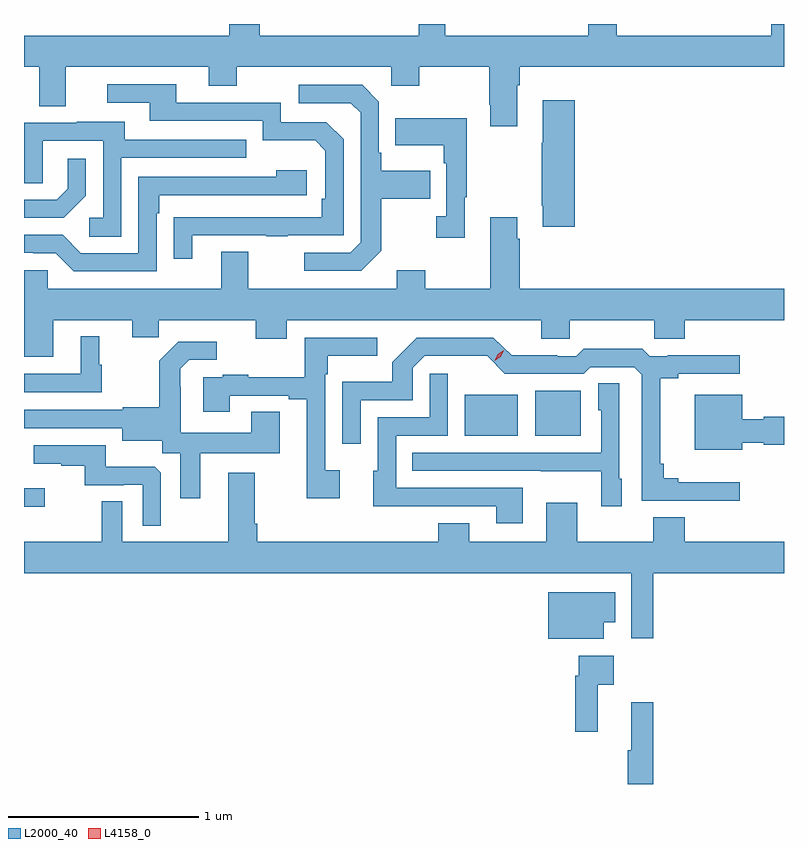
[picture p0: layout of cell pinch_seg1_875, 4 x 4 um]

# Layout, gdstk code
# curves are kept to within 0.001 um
import gdstk
lib = gdstk.Library(unit=1e-6, precision=1e-09)
def R(c, l, rs):  # rectangles x0, y0, x1, y1
    for r in rs: c.add(gdstk.rectangle(r[:2], r[2:], *l))
def P(c, l, *ps):  # polygons
    for p in ps: c.add(gdstk.Polygon(p, *l))
L2000_40 = (2000, 40)
L4158_0 = (4158, 0)

pinch_seg1_875 = lib.new_cell('pinch_seg1_875')
R(pinch_seg1_875, L2000_40, [(598.162,532.1,598.27,532.198), (600.482,532.475,600.76,532.69), (600.854,532.475,601.093,532.711)])
P(pinch_seg1_875, L2000_40, [(598.162,534.416),(598.241,534.416),(598.241,534.208),(598.381,534.208),(598.381,534.416),(599.135,534.416),(599.135,534.317),(599.283,534.317),(599.283,534.416),(600.096,534.416),(600.096,534.317),(600.243,534.317),(600.243,534.416),(600.61,534.416),(600.61,534.217),(600.617,534.217),(600.617,534.105),(600.757,534.105),(600.757,534.32),(600.77,534.32),(600.77,534.416),(602.162,534.416),(602.162,534.642),(602.094,534.642),(602.094,534.58),(601.281,534.58),(601.281,534.642),(601.133,534.642),(601.133,534.58),(600.379,534.58),(600.379,534.642),(600.239,534.642),(600.239,534.58),(599.403,534.58),(599.403,534.642),(599.243,534.642),(599.243,534.58),(598.162,534.58)],
  [(599.047,533.529),(599.437,533.529),(599.437,533.524),(599.549,533.524),(599.549,533.529),(599.844,533.529),(599.844,534.036),(599.754,534.126),(599.514,534.126),(599.514,534.228),(598.963,534.228),(598.963,534.324),(598.599,534.324),(598.599,534.228),(598.823,534.228),(598.823,534.132),(599.418,534.132),(599.418,534.029),(599.695,534.029),(599.748,533.976),(599.748,533.722),(599.728,533.722),(599.728,533.625),(598.951,533.624),(598.951,533.406),(599.047,533.406)],
  [(600.043,533.449),(600.043,533.722),(600.299,533.722),(600.299,533.869),(600.043,533.869),(600.043,533.965),(600.03,533.965),(600.03,534.234),(599.943,534.321),(599.607,534.321),(599.607,534.225),(599.883,534.225),(599.934,534.174),(599.934,533.493),(599.88,533.439),(599.637,533.439),(599.637,533.343),(599.937,533.343)],
  [(601.061,534.241),(600.893,534.241),(600.893,534.017),(600.886,534.017),(600.886,533.686),(600.893,533.686),(600.893,533.574),(601.061,533.574)],
  [(600.481,533.729),(600.493,533.729),(600.493,534.145),(600.115,534.145),(600.115,534.005),(600.372,534.005),(600.372,533.909),(600.384,533.909),(600.384,533.63),(600.333,533.63),(600.333,533.517),(600.481,533.517)],
  [(598.674,533.937),(599.333,533.937),(599.333,534.033),(598.693,534.033),(598.693,534.127),(598.439,534.127),(598.439,534.123),(598.162,534.123),(598.162,533.803),(598.26,533.803),(598.26,534.027),(598.578,534.027),(598.578,533.622),(598.506,533.622),(598.506,533.521),(598.674,533.521)],
  [(598.488,533.738),(598.488,533.932),(598.391,533.932),(598.391,533.775),(598.334,533.718),(598.162,533.718),(598.162,533.622),(598.372,533.622)],
  [(598.86,533.645),(598.873,533.645),(598.873,533.742),(599.65,533.742),(599.65,533.872),(599.489,533.872),(599.489,533.838),(598.764,533.838),(598.764,533.436),(598.461,533.436),(598.365,533.532),(598.162,533.532),(598.162,533.439),(598.211,533.439),(598.211,533.436),(598.329,533.436),(598.425,533.34),(598.86,533.34)],
  [(598.315,533.084),(598.733,533.084),(598.733,532.994),(598.871,532.994),(598.871,533.084),(599.381,533.084),(599.381,532.985),(599.545,532.985),(599.545,533.084),(600.884,533.084),(600.884,532.986),(601.035,532.986),(601.035,533.084),(601.48,533.084),(601.48,532.986),(601.64,532.986),(601.64,533.084),(602.162,533.084),(602.162,533.248),(600.77,533.248),(600.77,533.513),(600.757,533.513),(600.757,533.626),(600.617,533.626),(600.617,533.248),(600.273,533.248),(600.273,533.347),(600.125,533.347),(600.125,533.248),(599.341,533.248),(599.341,533.443),(599.201,533.443),(599.201,533.248),(598.287,533.248),(598.287,533.346),(598.162,533.346),(598.162,532.89),(598.315,532.89)],
  [(598.57,532.848),(598.558,532.848),(598.558,532.999),(598.46,532.999),(598.46,532.8),(598.162,532.8),(598.162,532.704),(598.57,532.704)],
  [(601.93,532.231),(601.606,532.231),(601.606,532.25),(601.529,532.25),(601.529,532.327),(601.511,532.327),(601.511,532.778),(601.606,532.778),(601.606,532.8),(601.93,532.8),(601.93,532.898),(601.549,532.898),(601.549,532.893),(601.455,532.893),(601.415,532.933),(601.108,532.933),(601.068,532.893),(600.968,532.893),(600.968,532.898),(600.728,532.898),(600.633,532.992),(600.23,532.992),(600.1,532.862),(600.1,532.759),(599.838,532.759),(599.838,532.434),(599.934,532.434),(599.934,532.662),(600.207,532.662),(600.207,532.833),(600.27,532.896),(600.599,532.895),(600.693,532.8),(601.107,532.8),(601.143,532.836),(601.374,532.836),(601.413,532.797),(601.413,532.134),(601.93,532.134)],
  [(599.824,532.294),(599.748,532.294),(599.748,532.799),(599.761,532.799),(599.761,532.895),(600.022,532.895),(600.022,532.992),(599.64,532.992),(599.64,532.784),(599.341,532.784),(599.341,532.795),(599.209,532.795),(599.209,532.782),(599.105,532.782),(599.105,532.602),(599.245,532.602),(599.245,532.686),(599.555,532.686),(599.555,532.668),(599.651,532.668),(599.651,532.146),(599.824,532.146)],
  [(599.089,532.382),(599.509,532.382),(599.509,532.601),(599.357,532.601),(599.357,532.492),(598.986,532.492),(598.986,532.733),(598.984,532.733),(598.984,532.828),(599.031,532.875),(599.176,532.875),(599.176,532.969),(598.975,532.969),(598.875,532.869),(598.875,532.624),(598.683,532.624),(598.683,532.611),(598.162,532.611),(598.162,532.515),(598.679,532.515),(598.679,532.448),(598.89,532.448),(598.89,532.384),(598.985,532.384),(598.985,532.146),(599.089,532.146)],
  [(600.787,532.2),(600.12,532.2),(600.12,532.476),(600.393,532.476),(600.393,532.801),(600.297,532.801),(600.297,532.572),(600.024,532.572),(600.024,532.29),(599.999,532.29),(599.999,532.103),(600.217,532.103),(600.217,532.104),(600.647,532.104),(600.647,532.014),(600.787,532.014)],
  [(601.309,532.248),(601.296,532.248),(601.296,532.751),(601.184,532.751),(601.184,532.608),(601.2,532.608),(601.2,532.386),(600.205,532.386),(600.205,532.29),(600.883,532.29),(600.883,532.289),(601.2,532.289),(601.2,532.104),(601.309,532.104)],
  [(601.942,532.439),(602.055,532.439),(602.055,532.427),(602.162,532.427),(602.162,532.574),(602.055,532.574),(602.055,532.561),(601.942,532.561),(601.942,532.69),(601.691,532.69),(601.691,532.4),(601.942,532.4)],
  [(598.881,532.281),(598.849,532.313),(598.591,532.313),(598.591,532.425),(598.213,532.425),(598.213,532.328),(598.357,532.328),(598.357,532.317),(598.481,532.317),(598.481,532.215),(598.688,532.215),(598.688,532.218),(598.788,532.218),(598.788,532.001),(598.881,532.001)],
  [(601.475,531.752),(602.162,531.752),(602.162,531.916),(601.639,531.916),(601.639,532.045),(601.475,532.045),(601.475,531.916),(601.075,531.916),(601.075,532.123),(600.911,532.123),(600.911,531.916),(600.505,531.916),(600.505,532.015),(600.341,532.015),(600.341,531.916),(599.39,531.916),(599.39,532.012),(599.377,532.012),(599.377,532.279),(599.237,532.279),(599.237,531.916),(598.68,531.916),(598.68,532.13),(598.572,532.13),(598.572,531.916),(598.162,531.916),(598.162,531.752),(601.359,531.752),(601.359,531.408),(601.475,531.408)],
  [(601.213,531.494),(601.274,531.494),(601.274,531.652),(600.92,531.652),(600.92,531.407),(601.213,531.407)],
  [(601.181,531.164),(601.267,531.164),(601.267,531.316),(601.083,531.316),(601.083,531.212),(601.063,531.212),(601.063,530.916),(601.181,530.916)],
  [(601.475,531.073),(601.358,531.073),(601.358,530.82),(601.339,530.82),(601.339,530.642),(601.475,530.642)])
P(pinch_seg1_875, L4158_0, [(600.64,532.869),(600.64,532.869),(600.655,532.904),(600.686,532.925),(600.686,532.925),(600.686,532.925),(600.671,532.891),(600.64,532.869)])

lib.write_gds('pinch_seg1_875.gds')
